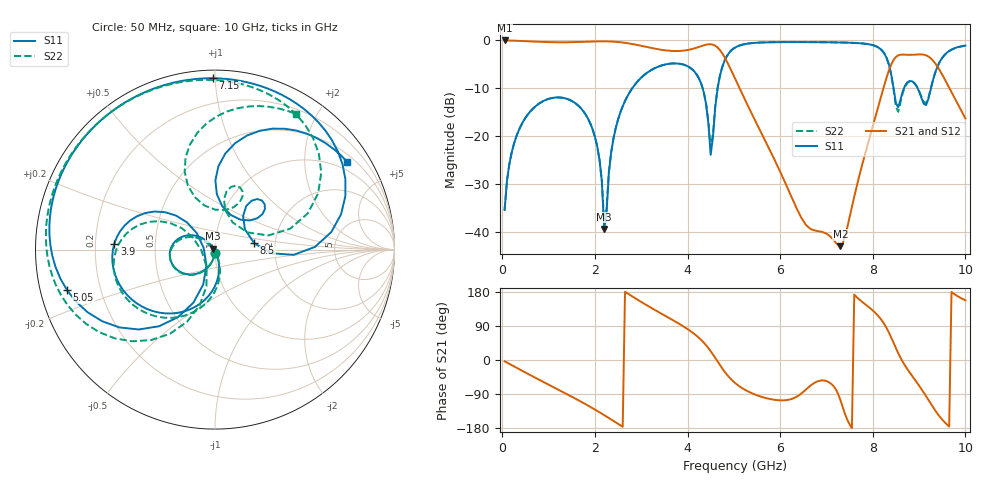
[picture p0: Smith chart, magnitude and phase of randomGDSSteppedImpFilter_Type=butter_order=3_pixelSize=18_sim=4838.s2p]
! freq	dB(S11)	phase(S11)	dB(S12)	phase(S12)
!  dB(S21)	phase(S21)	dB(S22)	phase(S22)
!S-par simulation data
#  GHz  S  DB  R 50
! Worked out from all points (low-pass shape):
!   200 points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, 50 MHz to 10 GHz, reference 50 ohm
!   highest |S21| = -0.01 dB at 50 MHz (marker M1); lowest = -42.9 dB at 7.3 GHz (marker M2)
!   |S21| within 3 dB of the highest: start of sweep to 4.769 GHz; 8.81 GHz to 9.116 GHz (305.4 MHz wide, 3.41 % of centre) (the widest 2 of 3)
!   lowest |S11| = -39.3 dB at 2.2 GHz (marker M3), VSWR 1.02, Z = 49 + j0.498 ohm
!   |S11| at or under -10 dB: start of sweep to 2.805 GHz; 4.326 GHz to 4.649 GHz (323.2 MHz wide, 7.2 % of centre); 8.969 GHz to 9.256 GHz (286.8 MHz wide, 3.15 % of centre) (the widest 3 of 4)
!   |S22| runs from -37.9 to -0.3 dB; largest |S21 - S12| = 0
!   S11 on the Smith chart (normalised r, x): 50 MHz: 1.00, -0.03; 3.9 GHz: 0.28, +0.03; 5.05 GHz: 0.08, -0.13; 7.15 GHz: 0.05, +0.99; 8.5 GHz: 1.56, +0.11; 10 GHz: 0.71, +3.16
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0.05  -35.32 -92.8  -0.01 -3.4  -0.01 -3.4  -35.32 -92.7
0.2  -23.46 -103.7  -0.04 -13.4  -0.04 -13.4  -23.46 -103.3
0.55  -15.44 -127.3  -0.18 -36.3  -0.18 -36.3  -15.44 -126.3
1.75  -14.74 155.2  -0.29 -113.3  -0.29 -113.3  -14.75 159.0
2.05  -22.08 135.5  -0.20 -134.4  -0.20 -134.4  -22.08 141.4
2.2  -39.27 152.1  -0.19 -145.4  -0.19 -145.4  -37.94 170.9
2.55  -14.99 -86.7  -0.38 -172.3  -0.38 -172.3  -14.97 -83.3
3.4  -5.35 -148.9  -1.90 124.7  -1.90 124.7  -5.34 -142.7
3.9  -5.01 176.6  -2.14 89.6  -2.14 89.6  -5.00 -175.7
4.3  -9.15 143.2  -1.18 52.3  -1.18 52.3  -9.12 153.1
4.5  -23.83 170.5  -0.80 23.3  -0.80 23.3  -22.41 -176.3
4.7  -7.36 -118.7  -2.02 -13.3  -2.02 -13.3  -7.30 -111.2
5.05  -1.36 -164.6  -8.45 -62.9  -8.45 -62.9  -1.35 -154.9
6.7  -0.36 109.4  -39.44 -63.6  -39.44 -63.6  -0.35 125.0
7.15  -0.40 90.6  -41.51 -68.3  -41.51 -68.3  -0.40 107.9
7.3  -0.43 84.0  -42.85 -105.2  -42.85 -105.2  -0.42 101.8
7.95  -0.87 47.1  -19.58 135.9  -19.58 135.9  -0.86 67.0
8.35  -5.08 1.5  -6.21 72.0  -6.21 72.0  -5.10 21.4
8.5  -13.08 9.0  -3.45 31.0  -3.45 31.0  -13.78 27.9
9.1  -13.19 49.7  -2.97 -85.9  -2.97 -85.9  -12.82 74.9
9.4  -5.37 83.9  -5.51 -142.1  -5.51 -142.1  -5.39 107.8
10  -1.07 33.7  -16.25 157.5  -16.25 157.5  -1.10 59.0
